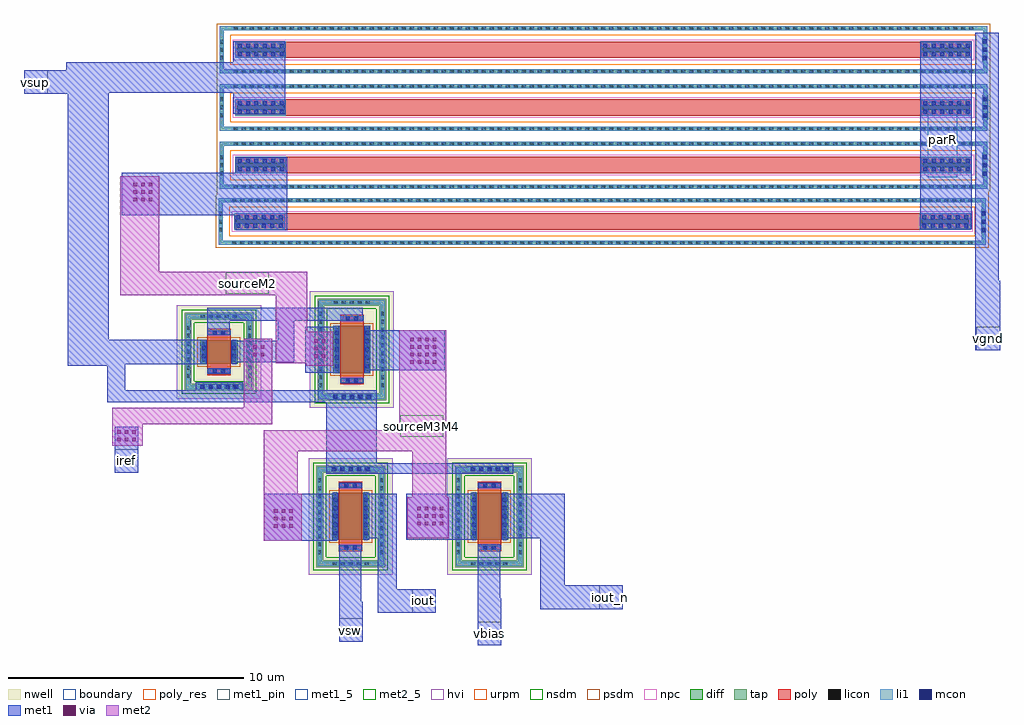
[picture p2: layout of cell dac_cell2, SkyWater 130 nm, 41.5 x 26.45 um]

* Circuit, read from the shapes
.subckt dac_cell2 iout iout_n iref parR sourceM2 sourceM3M4 vbias vgnd vsup vsw
XM1 iref iref vsup vsup sky130_fd_pr__pfet_g5v0d10v5 w=1 l=1
XM2 iout vsw sourceM3M4 vsup sky130_fd_pr__pfet_g5v0d10v5 w=2 l=1
XM3 sourceM3M4 iref sourceM2 vsup sky130_fd_pr__pfet_g5v0d10v5 w=2 l=1
XM4 iout_n vbias sourceM3M4 vsup sky130_fd_pr__pfet_g5v0d10v5 w=2 l=1
XR5 parR sourceM2 vgnd sky130_fd_pr__res_xhigh_po w=0.69 l=27 m=2
XR6 parR vsup vgnd sky130_fd_pr__res_xhigh_po w=0.69 l=27 m=2
.ends

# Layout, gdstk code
from math import pi, radians
import gdstk
lib = gdstk.Library(unit=1e-6, precision=1e-09)
def R(c, l, rs):  # rectangles x0, y0, x1, y1
    for r in rs: c.add(gdstk.rectangle(r[:2], r[2:], *l))
def A(c, l, x, y, w, h, nx, ny, dx, dy):  # array of equal rectangles
    R(c, l, [(x+i*dx, y+j*dy, x+i*dx+w, y+j*dy+h) for i in range(nx) for j in range(ny)])
nwell = (64, 20)
diff = (65, 20)
tap = (65, 44)
poly_res = (66, 13)
poly = (66, 20)
licon = (66, 44)
li1 = (67, 20)
mcon = (67, 44)
met1_5 = (68, 5)
met1_pin = (68, 16)
met1 = (68, 20)
via = (68, 44)
met2_5 = (69, 5)
met2 = (69, 20)
hvi = (75, 20)
urpm = (79, 20)
nsdm = (93, 44)
psdm = (94, 20)
npc = (95, 20)
boundary = (235, 4)

sky130_fd_pr__res_xhigh_ = lib.new_cell('sky130_fd_pr__res_xhigh_po_0p69_XZX24Q')
R(sky130_fd_pr__res_xhigh_, tap, [(-0.995,-16.31,0.995,-16.14), (-0.995,-16.14,-0.825,16.14), (0.825,-16.14,0.995,16.14), (-0.995,16.14,0.995,16.31)])
R(sky130_fd_pr__res_xhigh_, poly_res, [(-0.345,-13.56,0.345,13.56)])
R(sky130_fd_pr__res_xhigh_, poly, [(-0.345,-15.66,0.345,15.66)])
A(sky130_fd_pr__res_xhigh_, licon, -0.425, -16.31, 0.17, 0.17, 3, 2, 0.34, 32.45)
A(sky130_fd_pr__res_xhigh_, licon, -0.995, -15.725, 0.17, 0.17, 1, 93, 0, 0.34)
A(sky130_fd_pr__res_xhigh_, licon, 0.825, -15.725, 0.17, 0.17, 1, 93, 0, 0.34)
R(sky130_fd_pr__res_xhigh_, licon, [(-0.095,-15.58,0.095,-13.58), (-0.095,13.58,0.095,15.58)])
R(sky130_fd_pr__res_xhigh_, li1, [(-0.995,-16.31,0.995,-16.14), (-0.995,-16.14,-0.825,16.14), (0.825,-16.14,0.995,16.14), (-0.345,-15.66,0.345,-13.5), (-0.345,13.5,0.345,15.66), (-0.995,16.14,0.995,16.31)])
A(sky130_fd_pr__res_xhigh_, mcon, -0.265, -15.565, 0.17, 0.17, 1, 6, 0, 0.36)
A(sky130_fd_pr__res_xhigh_, mcon, 0.095, -15.565, 0.17, 0.17, 1, 6, 0, 0.36)
A(sky130_fd_pr__res_xhigh_, mcon, -0.265, 13.59, 0.17, 0.17, 1, 6, 0, 0.36)
A(sky130_fd_pr__res_xhigh_, mcon, 0.095, 13.59, 0.17, 0.17, 1, 6, 0, 0.36)
R(sky130_fd_pr__res_xhigh_, met1, [(-0.295,-15.63,0.295,-13.525), (-0.295,13.525,0.295,15.63)])
R(sky130_fd_pr__res_xhigh_, urpm, [(-0.635,-15.86,0.635,15.86)])
R(sky130_fd_pr__res_xhigh_, psdm, [(-1.12,-16.435,1.12,16.435)])
R(sky130_fd_pr__res_xhigh_, npc, [(-0.44,-15.755,0.44,15.755)])
R(sky130_fd_pr__res_xhigh_, boundary, [(-0.91,-16.225,0.91,16.225)])

sky130_fd_pr__pfet_g5v0d = lib.new_cell('sky130_fd_pr__pfet_g5v0d10v5_FGK6VM')
R(sky130_fd_pr__pfet_g5v0d, nwell, [(-1.79,-2.485,1.79,2.485)])
R(sky130_fd_pr__pfet_g5v0d, diff, [(-0.79,-1,0.79,1)])
R(sky130_fd_pr__pfet_g5v0d, tap, [(-1.46,-2.155,1.46,-1.865), (-1.46,-1.865,-1.17,1.865), (1.17,-1.865,1.46,1.865), (-1.46,1.865,1.46,2.155)])
R(sky130_fd_pr__pfet_g5v0d, poly, [(-0.5,-1.485,0.5,1.485)])
A(sky130_fd_pr__pfet_g5v0d, licon, -0.765, -2.095, 0.17, 0.17, 5, 2, 0.34, 4.02)
A(sky130_fd_pr__pfet_g5v0d, licon, -1.4, -1.615, 0.17, 0.17, 1, 10, 0, 0.34)
A(sky130_fd_pr__pfet_g5v0d, licon, 1.23, -1.615, 0.17, 0.17, 1, 10, 0, 0.34)
A(sky130_fd_pr__pfet_g5v0d, licon, -0.73, -0.935, 0.17, 0.17, 1, 6, 0, 0.34)
A(sky130_fd_pr__pfet_g5v0d, licon, 0.56, -0.935, 0.17, 0.17, 1, 6, 0, 0.34)
R(sky130_fd_pr__pfet_g5v0d, licon, [(-0.255,-1.405,-0.085,-1.235), (0.085,-1.405,0.255,-1.235), (-0.255,1.235,-0.085,1.405), (0.085,1.235,0.255,1.405)])
R(sky130_fd_pr__pfet_g5v0d, li1, [(-1.4,-2.095,1.4,-1.925), (-1.4,-1.925,-1.23,1.925), (1.23,-1.925,1.4,1.925), (-0.5,-1.405,0.5,-1.235), (-0.73,-1.02,-0.56,1.02), (0.56,-1.02,0.73,1.02), (-0.5,1.235,0.5,1.405), (-1.4,1.925,1.4,2.095)])
A(sky130_fd_pr__pfet_g5v0d, mcon, -0.73, -0.805, 0.17, 0.17, 1, 5, 0, 0.36)
A(sky130_fd_pr__pfet_g5v0d, mcon, 0.56, -0.805, 0.17, 0.17, 1, 5, 0, 0.36)
R(sky130_fd_pr__pfet_g5v0d, mcon, [(-0.265,-1.405,-0.095,-1.235), (0.095,-1.405,0.265,-1.235), (-0.265,1.235,-0.095,1.405), (0.095,1.235,0.265,1.405)])
R(sky130_fd_pr__pfet_g5v0d, met1, [(-0.48,-1.435,0.48,-1.205), (-0.76,-1,-0.53,1), (0.53,-1,0.76,1), (-0.48,1.205,0.48,1.435)])
R(sky130_fd_pr__pfet_g5v0d, hvi, [(-1.79,-2.485,1.79,2.485)])
R(sky130_fd_pr__pfet_g5v0d, nsdm, [(-1.585,-2.28,1.585,-1.74), (-1.585,-1.74,-1.045,1.74), (1.045,-1.74,1.585,1.74), (-1.585,1.74,1.585,2.28)])
R(sky130_fd_pr__pfet_g5v0d, psdm, [(-0.915,-1.125,0.915,1.125)])
R(sky130_fd_pr__pfet_g5v0d, npc, [(-0.355,-1.505,0.355,-1.135), (-0.355,1.135,0.355,1.505)])
R(sky130_fd_pr__pfet_g5v0d, boundary, [(-1.315,-2.01,1.315,2.01)])

c_sky130_fd_pr__pfet_g5v0d = lib.new_cell('sky130_fd_pr__pfet_g5v0d10v5_FGUWVM#1')
R(c_sky130_fd_pr__pfet_g5v0d, nwell, [(-1.79,-1.985,1.79,1.985)])
R(c_sky130_fd_pr__pfet_g5v0d, diff, [(-0.79,-0.5,0.79,0.5)])
R(c_sky130_fd_pr__pfet_g5v0d, tap, [(-1.46,-1.655,1.46,-1.365), (-1.46,-1.365,-1.17,1.365), (1.17,-1.365,1.46,1.365), (-1.46,1.365,1.46,1.655)])
R(c_sky130_fd_pr__pfet_g5v0d, poly, [(-0.5,-0.985,0.5,0.985)])
A(c_sky130_fd_pr__pfet_g5v0d, licon, -0.765, -1.595, 0.17, 0.17, 5, 2, 0.34, 3.02)
A(c_sky130_fd_pr__pfet_g5v0d, licon, -1.4, -1.105, 0.17, 0.17, 1, 7, 0, 0.34)
A(c_sky130_fd_pr__pfet_g5v0d, licon, 1.23, -1.105, 0.17, 0.17, 1, 7, 0, 0.34)
A(c_sky130_fd_pr__pfet_g5v0d, licon, -0.73, -0.425, 0.17, 0.17, 1, 3, 0, 0.34)
A(c_sky130_fd_pr__pfet_g5v0d, licon, 0.56, -0.425, 0.17, 0.17, 1, 3, 0, 0.34)
R(c_sky130_fd_pr__pfet_g5v0d, licon, [(-0.255,-0.905,-0.085,-0.735), (0.085,-0.905,0.255,-0.735), (-0.255,0.735,-0.085,0.905), (0.085,0.735,0.255,0.905)])
R(c_sky130_fd_pr__pfet_g5v0d, li1, [(-1.4,-1.595,1.4,-1.425), (-1.4,-1.425,-1.23,1.425), (1.23,-1.425,1.4,1.425), (-0.5,-0.905,0.5,-0.735), (-0.73,-0.52,-0.56,0.52), (0.56,-0.52,0.73,0.52), (-0.5,0.735,0.5,0.905), (-1.4,1.425,1.4,1.595)])
R(c_sky130_fd_pr__pfet_g5v0d, mcon, [(-0.265,-0.905,-0.095,-0.735), (0.095,-0.905,0.265,-0.735), (-0.73,-0.265,-0.56,-0.095), (0.56,-0.265,0.73,-0.095), (-0.73,0.095,-0.56,0.265), (0.56,0.095,0.73,0.265), (-0.265,0.735,-0.095,0.905), (0.095,0.735,0.265,0.905)])
R(c_sky130_fd_pr__pfet_g5v0d, met1, [(-0.48,-0.935,0.48,-0.705), (-0.76,-0.5,-0.53,0.5), (0.53,-0.5,0.76,0.5), (-0.48,0.705,0.48,0.935)])
R(c_sky130_fd_pr__pfet_g5v0d, hvi, [(-1.79,-1.985,1.79,1.985)])
R(c_sky130_fd_pr__pfet_g5v0d, nsdm, [(-1.585,-1.78,1.585,-1.24), (-1.585,-1.24,-1.045,1.24), (1.045,-1.24,1.585,1.24), (-1.585,1.24,1.585,1.78)])
R(c_sky130_fd_pr__pfet_g5v0d, psdm, [(-0.915,-0.625,0.915,0.625)])
R(c_sky130_fd_pr__pfet_g5v0d, npc, [(-0.355,-1.005,0.355,-0.635), (-0.355,0.635,0.355,1.005)])
R(c_sky130_fd_pr__pfet_g5v0d, boundary, [(-1.315,-1.51,1.315,1.51)])

dac_cell2 = lib.new_cell('dac_cell2')
R(dac_cell2, li1, [(-3.5,7.6,-1.6,7.8), (2.4,7.6,4.3,7.8), (-3.45,10.65,-1.55,10.9), (-9.05,11.1,-7.25,11.3), (24.25,17.7,24.45,18.75), (24.3,20.1,24.5,21.15), (24.3,22.55,24.55,23.6), (24.3,25,24.5,26.05)])
A(dac_cell2, mcon, -3.355, 7.615, 0.17, 0.17, 5, 1, 0.36, 0)
A(dac_cell2, mcon, 2.545, 7.615, 0.17, 0.17, 5, 1, 0.36, 0)
A(dac_cell2, mcon, -3.305, 10.69, 0.17, 0.17, 5, 1, 0.36, 0)
A(dac_cell2, mcon, -8.955, 11.115, 0.17, 0.17, 5, 1, 0.36, 0)
A(dac_cell2, mcon, 24.265, 17.78, 0.17, 0.17, 1, 3, 0, 0.36)
A(dac_cell2, mcon, 24.315, 20.18, 0.17, 0.17, 1, 3, 0, 0.36)
A(dac_cell2, mcon, 24.34, 22.63, 0.17, 0.17, 1, 3, 0, 0.36)
A(dac_cell2, mcon, 24.315, 25.08, 0.17, 0.17, 1, 3, 0, 0.36)
R(dac_cell2, met1_5, [(21.98,20.1,23.24,23.3)])
R(dac_cell2, met1_pin, [(2.85,0.2,3.85,1.2), (-3.05,0.35,-2.05,1.35), (0.05,1.6,1.05,2.6), (8,1.75,9,2.75), (-12.6,7.55,-11.6,8.55), (24.05,12.75,25.05,13.75), (-16.45,23.65,-15.45,24.65)])
R(dac_cell2, met1, [(2.85,0.2,3.85,2.2), (-3.05,0.35,-2.05,2.05), (-1.4,1.6,1.05,2.6), (5.5,1.75,9,2.75), (-3.05,2.05,-2.1,4.45), (2.85,2.2,3.8,4.5), (-1.4,2.6,-0.6,4.75), (5.5,2.75,6.55,4.75), (-6.25,4.65,-3.15,4.75), (-0.2,4.7,2.8,6.65), (-6.25,4.75,-3.1,6.65), (-2,4.75,-0.6,6.65), (3.9,4.75,6.55,6.65), (-3.6,7.5,4.35,7.95), (-12.6,7.55,-11.6,9.5), (-3.6,7.95,-1.45,10.55), (-12.9,10.55,-1.45,11.05), (-12.9,11.05,-12.15,12.1), (-9.15,11.05,-7.15,11.4), (-4.5,11.8,-3.1,13.75), (-1.95,11.9,1.45,13.6), (-14.6,12.1,-12.15,12.15), (-14.6,12.15,-8.7,13.2), (-7.6,12.25,-4.95,13.15), (24,12.75,25.05,15.7), (-5.65,13.15,-4.95,14), (-14.6,13.2,-12.85,23.65), (-8.65,13.4,-7.7,14), (-8.65,14,-2.05,14.55), (24,15.7,25,26.25), (-7.45,17.85,-5.25,18.5), (21.65,17.9,23.85,25.9), (-12.3,18.5,-5.25,20.3), (-7.45,20.3,-5.25,20.95), (-7.55,22.8,-5.35,23.7), (-16.45,23.65,-12.85,23.7), (-16.45,23.7,-5.35,24.65), (-14.65,24.65,-5.35,25), (-7.55,25,-5.35,25.9)])
A(dac_cell2, via, -5.82, 5.205, 0.15, 0.15, 3, 3, 0.32, 0.32)
A(dac_cell2, via, 0.27, 5.305, 0.15, 0.15, 4, 3, 0.32, 0.32)
A(dac_cell2, via, -12.495, 8.89, 0.15, 0.15, 3, 2, 0.32, 0.32)
A(dac_cell2, via, -0.03, 12.17, 0.15, 0.15, 4, 4, 0.32, 0.32)
A(dac_cell2, via, -4.11, 12.43, 0.15, 0.15, 1, 3, 0, 0.32)
A(dac_cell2, via, -3.79, 12.43, 0.15, 0.15, 1, 3, 0, 0.32)
A(dac_cell2, via, -11.795, 19.08, 0.15, 0.15, 3, 3, 0.32, 0.32)
R(dac_cell2, via, [(-6.71,12.49,-6.56,12.64), (-6.39,12.49,-6.24,12.64), (-6.71,12.81,-6.56,12.96), (-6.39,12.81,-6.24,12.96)])
R(dac_cell2, met2_5, [(-0.46,9.08,1.38,9.98), (-7.88,15.16,-6.04,16.06)])
R(dac_cell2, met2, [(-6.25,4.65,-4.65,6.65), (-0.15,4.75,1.6,6.5), (0.05,6.5,1.5,8.45), (-6.25,6.65,-4.8,8.45), (-6.25,8.45,1.5,9.35), (-12.7,8.7,-11.4,9.6), (-0.5,9.35,1.5,13.6), (-12.7,9.6,-5.9,10.3), (-7.1,10.3,-5.9,13.25), (-4.45,12.1,-3.3,12.2), (-5.75,12.2,-3.3,13.55), (-5.75,13.55,-4.4,15.1), (-12.35,15.1,-4.4,16.1), (-12.35,16.1,-10.7,20.15)])
R(dac_cell2, psdm, [(-8.245,19.345,24.575,19.505), (-8.245,21.745,24.625,21.955), (-8.245,24.195,24.625,24.405)])
dac_cell2.add(gdstk.Reference(sky130_fd_pr__res_xhigh_, (8.19,25.525), rotation=pi/2))
dac_cell2.add(gdstk.Reference(sky130_fd_pr__res_xhigh_, (8.19,23.075), rotation=pi/2))
dac_cell2.add(gdstk.Reference(sky130_fd_pr__res_xhigh_, (8.19,20.625), rotation=pi/2))
dac_cell2.add(gdstk.Reference(sky130_fd_pr__res_xhigh_, (8.14,18.225), rotation=pi/2))
dac_cell2.add(gdstk.Reference(sky130_fd_pr__pfet_g5v0d, (3.34,5.685)))
dac_cell2.add(gdstk.Reference(sky130_fd_pr__pfet_g5v0d, (-2.56,5.685)))
dac_cell2.add(gdstk.Reference(sky130_fd_pr__pfet_g5v0d, (-2.51,12.785)))
dac_cell2.add(gdstk.Reference(c_sky130_fd_pr__pfet_g5v0d, (-8.16,12.685)))
dac_cell2.add(gdstk.Label('sourceM3M4', (0.46,9.53), layer=69, texttype=5))
dac_cell2.add(gdstk.Label('sourceM2', (-6.96,15.61), layer=69, texttype=5))
dac_cell2.add(gdstk.Label('parR', (22.61,21.7), layer=68, texttype=5))
dac_cell2.add(gdstk.Label('vsup', (-15.95,24.15), layer=68, texttype=16))
dac_cell2.add(gdstk.Label('vgnd', (24.55,13.25), layer=68, texttype=16))
dac_cell2.add(gdstk.Label('iref', (-12.1,8.05), layer=68, texttype=16))
dac_cell2.add(gdstk.Label('vsw', (-2.55,0.85), layer=68, texttype=16))
dac_cell2.add(gdstk.Label('iout', (0.55,2.1), layer=68, texttype=16))
dac_cell2.add(gdstk.Label('iout_n', (8.5,2.25), layer=68, texttype=16))
dac_cell2.add(gdstk.Label('vbias', (3.35,0.7), layer=68, texttype=16))

lib.write_gds('dac_cell2.gds')
